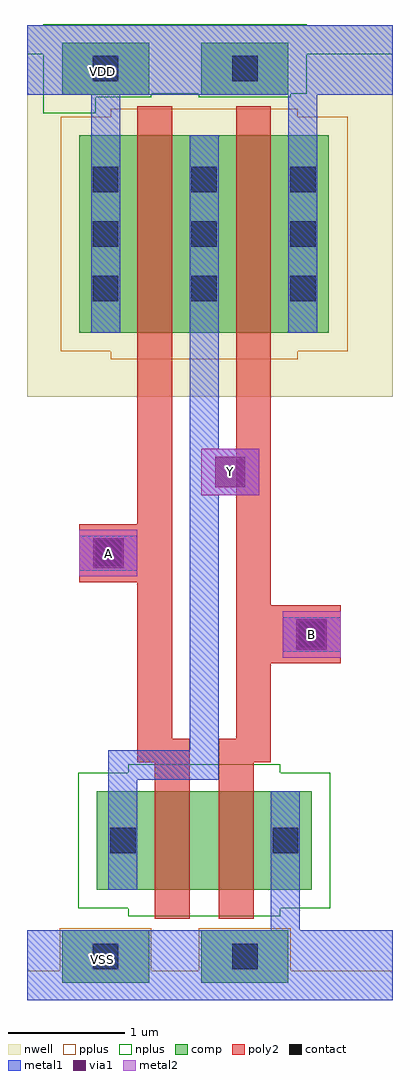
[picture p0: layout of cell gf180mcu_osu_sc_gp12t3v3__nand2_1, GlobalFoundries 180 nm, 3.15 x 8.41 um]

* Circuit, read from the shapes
.subckt gf180mcu_osu_sc_gp12t3v3__nand2_1 A B VDD VSS Y
XM1 n1 A Y VSS nfet_03v3 w=0.85u l=0.3u
XM2 VSS B n1 VSS nfet_03v3 w=0.85u l=0.3u
XM3 Y A VDD VDD pfet_03v3 w=1.7u l=0.3u
XM4 VDD B Y VDD pfet_03v3 w=1.7u l=0.3u
.ends

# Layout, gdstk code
import gdstk
lib = gdstk.Library(unit=1e-6, precision=1e-09)
def R(c, l, rs):  # rectangles x0, y0, x1, y1
    for r in rs: c.add(gdstk.rectangle(r[:2], r[2:], *l))
def A(c, l, x, y, w, h, nx, ny, dx, dy):  # array of equal rectangles
    R(c, l, [(x+i*dx, y+j*dy, x+i*dx+w, y+j*dy+h) for i in range(nx) for j in range(ny)])
nwell = (21, 0)
comp = (22, 0)
poly2 = (30, 0)
pplus = (31, 0)
nplus = (32, 0)
contact = (33, 0)
metal1 = (34, 0)
via1 = (35, 0)
metal2 = (36, 0)

gf180mcu_osu_sc_gp12t3v3 = lib.new_cell('gf180mcu_osu_sc_gp12t3v3__nand2_1')
R(gf180mcu_osu_sc_gp12t3v3, nwell, [(0,5.2,3.15,8.4)])
R(gf180mcu_osu_sc_gp12t3v3, comp, [(0.3,0.15,1.05,0.6), (1.5,0.15,2.25,0.6), (0.6,0.95,2.45,1.8), (0.45,5.75,2.6,7.45), (0.3,7.8,1.05,8.25), (1.5,7.8,2.25,8.25)])
R(gf180mcu_osu_sc_gp12t3v3, poly2, [(1.1,0.7,1.4,2.05), (1.65,0.7,1.95,2.05), (0.95,2.05,1.4,2.25), (1.65,2.05,2.1,2.25), (0.95,2.25,1.25,3.6), (1.8,2.25,2.1,2.9), (1.8,2.9,2.7,3.4), (1.8,3.4,2.1,7.7), (0.45,3.6,1.25,4.1), (0.95,4.1,1.25,7.7)])
R(gf180mcu_osu_sc_gp12t3v3, pplus, [(0,0,3.15,0.25), (0.28,0.13,1.07,0.62), (1.48,0.13,2.27,0.62), (0.72,5.52,2.33,5.59), (0.29,5.59,2.76,7.61), (0.72,7.61,2.33,7.68)])
R(gf180mcu_osu_sc_gp12t3v3, nplus, [(0.87,0.72,2.18,0.79), (0.44,0.79,2.61,1.96), (0.87,1.96,2.18,2.03), (0.14,7.64,0.59,7.78), (0.14,7.78,1.07,7.81), (1.48,7.78,2.27,7.81), (0.14,7.81,2.41,8.15), (0,8.15,3.15,8.4), (0,8.15,3.15,8.4), (0.14,8.4,2.41,8.41)])
A(gf180mcu_osu_sc_gp12t3v3, contact, 0.565, 6.02, 0.22, 0.22, 3, 3, 0.85, 0.47)
R(gf180mcu_osu_sc_gp12t3v3, contact, [(0.565,0.265,0.785,0.485), (1.765,0.265,1.985,0.485), (0.715,1.265,0.935,1.485), (2.115,1.265,2.335,1.485), (2.34,3.04,2.56,3.26), (0.59,3.74,0.81,3.96), (0.565,7.915,0.785,8.135), (1.765,7.915,1.985,8.135)])
R(gf180mcu_osu_sc_gp12t3v3, metal1, [(0,0,3.15,0.6), (2.1,0.6,2.35,1.8), (0.7,0.95,0.95,1.9), (0.7,1.9,1.65,2.15), (1.4,2.15,1.65,4.35), (2.2,3,2.7,3.3), (0.45,3.7,0.95,4), (1.4,4.35,2,4.75), (1.4,4.75,1.65,7.45), (0.55,5.75,0.8,7.8), (2.25,5.75,2.5,7.8), (0,7.8,3.15,8.4)])
R(gf180mcu_osu_sc_gp12t3v3, via1, [(2.32,3.02,2.58,3.28), (0.57,3.72,0.83,3.98), (1.62,4.42,1.88,4.68)])
R(gf180mcu_osu_sc_gp12t3v3, metal2, [(2.2,2.95,2.7,3.35), (0.45,3.65,0.95,4.05), (1.5,4.35,2,4.75)])
gf180mcu_osu_sc_gp12t3v3.add(gdstk.Label('A', (0.7,3.85), layer=36, texttype=10))
gf180mcu_osu_sc_gp12t3v3.add(gdstk.Label('B', (2.45,3.15), layer=36, texttype=10))
gf180mcu_osu_sc_gp12t3v3.add(gdstk.Label('Y', (1.75,4.55), layer=36, texttype=10))
gf180mcu_osu_sc_gp12t3v3.add(gdstk.Label('VDD', (0.65,8), layer=34, texttype=10))
gf180mcu_osu_sc_gp12t3v3.add(gdstk.Label('VSS', (0.65,0.35), layer=34, texttype=10))

lib.write_gds('gf180mcu_osu_sc_gp12t3v3__nand2_1.gds')
